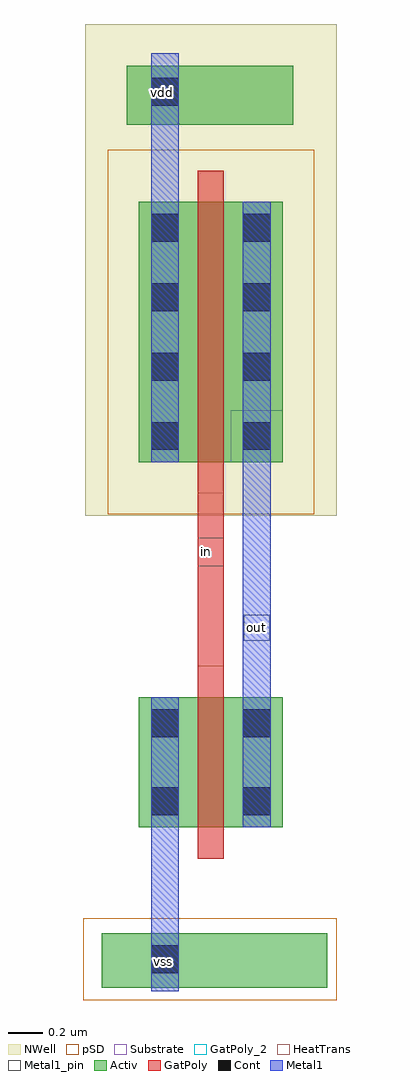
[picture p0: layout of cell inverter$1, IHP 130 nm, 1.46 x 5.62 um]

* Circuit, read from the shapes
.subckt inverter$1 in out vdd vss
XM1 out in vss vss sg13_lv_nmos w=0.75u l=0.15u
XM2 out in vdd vdd sg13_lv_pmos w=1.5u l=0.15u
.ends

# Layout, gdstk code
import gdstk
lib = gdstk.Library(unit=1e-6, precision=5e-09)
def R(c, l, rs):  # rectangles x0, y0, x1, y1
    for r in rs: c.add(gdstk.rectangle(r[:2], r[2:], *l))
def A(c, l, x, y, w, h, nx, ny, dx, dy):  # array of equal rectangles
    R(c, l, [(x+i*dx, y+j*dy, x+i*dx+w, y+j*dy+h) for i in range(nx) for j in range(ny)])
Activ = (1, 0)
GatPoly = (5, 0)
GatPoly_2 = (5, 2)
Cont = (6, 0)
Metal1 = (8, 0)
Metal1_pin = (8, 2)
pSD = (14, 0)
NWell = (31, 0)
Substrate = (40, 0)
HeatTrans = (51, 0)

nmos_2 = lib.new_cell('nmos$2')
R(nmos_2, Activ, [(0,0,0.3,0.3), (0,0,0.83,0.75), (0.53,0,0.83,0.3)])
R(nmos_2, GatPoly, [(0.34,-0.18,0.49,0.93)])
R(nmos_2, GatPoly_2, [(0.34,-0.18,0.49,0.93)])
R(nmos_2, Cont, [(0.07,0.07,0.23,0.23), (0.6,0.07,0.76,0.23), (0.07,0.52,0.23,0.68), (0.6,0.52,0.76,0.68)])
R(nmos_2, Metal1, [(0.07,0,0.23,0.75), (0.6,0,0.76,0.75)])
R(nmos_2, Metal1_pin, [(0.07,0,0.23,0.75), (0.6,0,0.76,0.75)])
R(nmos_2, HeatTrans, [(0.34,-0.18,0.49,0.93)])
nmos_2.add(gdstk.Label('nmos', (0.415,0.375), layer=63, texttype=0))
nmos_2.add(gdstk.Label('nmos', (0.415,0.375), layer=51, texttype=0))

pmos_1_1 = lib.new_cell('pmos$1$1')
R(pmos_1_1, Activ, [(0,0,0.3,0.3), (0,0,0.83,1.5), (0.53,0,0.83,0.3)])
R(pmos_1_1, GatPoly, [(0.34,-0.18,0.49,1.68), (0.34,-0.18,0.49,1.68)])
A(pmos_1_1, Cont, 0.07, 0.07, 0.16, 0.16, 1, 4, 0, 0.4)
A(pmos_1_1, Cont, 0.6, 0.07, 0.16, 0.16, 1, 4, 0, 0.4)
R(pmos_1_1, Metal1, [(0.07,0,0.23,1.5), (0.07,0,0.23,1.5), (0.6,0,0.76,1.5), (0.6,0,0.76,1.5)])
R(pmos_1_1, pSD, [(-0.18,-0.3,1.01,1.8)])
R(pmos_1_1, NWell, [(-0.31,-0.31,1.14,1.81)])
R(pmos_1_1, Substrate, [(0.53,0,0.83,0.3)])
R(pmos_1_1, HeatTrans, [(0.34,-0.18,0.49,1.68)])
pmos_1_1.add(gdstk.Label('pmos', (0.415,0.75), layer=63, texttype=0))
pmos_1_1.add(gdstk.Label('pmos', (0.415,0.75), layer=51, texttype=0))

inverter_1 = lib.new_cell('inverter$1')
R(inverter_1, Activ, [(1.335,-1.99,2.635,-1.675), (1.48,2.985,2.44,3.325)])
R(inverter_1, GatPoly, [(1.89,-0.135,2.04,1.34)])
R(inverter_1, GatPoly_2, [(1.89,0.44,2.04,0.605)])
R(inverter_1, Cont, [(1.62,-1.905,1.78,-1.745), (1.62,2.31,1.78,2.47), (1.62,3.095,1.78,3.255)])
R(inverter_1, Metal1, [(1.62,-2.01,1.78,-1.065), (2.15,-0.315,2.31,1.27), (1.62,2.15,1.78,3.395)])
R(inverter_1, Metal1_pin, [(1.62,-1.905,1.78,-1.745), (2.155,0.01,2.305,0.16), (1.62,3.095,1.78,3.255)])
R(inverter_1, pSD, [(1.23,-2.06,2.69,-1.59)])
R(inverter_1, NWell, [(1.24,2.85,2.69,3.565)])
inverter_1.add(gdstk.Reference(nmos_2, (1.55,-1.065)))
inverter_1.add(gdstk.Reference(pmos_1_1, (1.55,1.04)))
inverter_1.add(gdstk.Label('vdd', (1.685,3.17), layer=8, texttype=2))
inverter_1.add(gdstk.Label('out', (2.23,0.085), layer=8, texttype=2))
inverter_1.add(gdstk.Label('vss', (1.69,-1.84), layer=8, texttype=2))
inverter_1.add(gdstk.Label('in', (1.94,0.525), layer=5, texttype=2))

lib.write_gds('inverter_1.gds')
